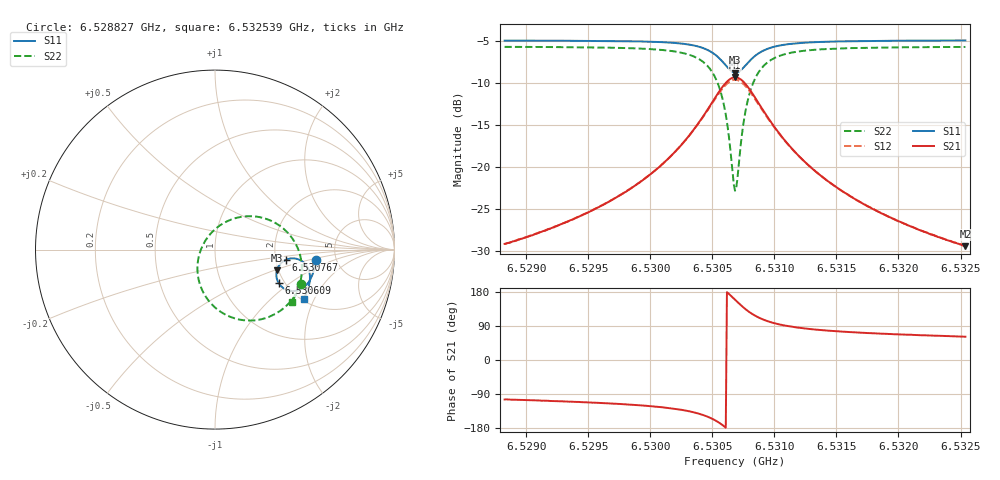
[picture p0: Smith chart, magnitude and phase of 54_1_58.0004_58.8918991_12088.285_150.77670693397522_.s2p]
#  HZ  S  RI  R  50.00
! Rohde & Schwarz Vector Network Analyzer
! Rohde-Schwarz,ZNB20-2Port,1311601062101988,3.16
! Created: UTC 3/21/2024, 12:52:42 AM
! freq[Hz]  re:S11  im:S11  re:S21  im:S21  re:S12  im:S12  re:S22  im:S22
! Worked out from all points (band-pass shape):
!   401 points, 6.528827 GHz to 6.532539 GHz, reference 50 ohm
!   highest |S21| = -9.35 dB at 6.530683 GHz (marker M1); lowest = -29.5 dB at 6.532539 GHz (marker M2)
!   |S21| within 3 dB of the highest: 6.530498 GHz to 6.53087 GHz (371.7 kHz wide, 0.00569 % of centre)
!   lowest |S11| = -8.8 dB at 6.530683 GHz (marker M3), VSWR 2.14, Z = 97.9 - j26.3 ohm
!   |S11| at or under -10 dB: nowhere
!   |S22| runs from -22.9 to -5.7 dB; largest |S21 - S12| = 0.014
!   S11 on the Smith chart (normalised r, x): 6.528827 GHz: 3.47, -0.60; 6.530609 GHz: 1.86, -0.83; 6.530767 GHz: 2.29, -0.31; 6.532539 GHz: 2.06, -1.66
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6.5288269e9  0.5607 -0.0585  -0.00852 -0.0336  -0.00908 -0.0334  0.4816 -0.1896
6.5294487e9  0.5512 -0.1122  -0.0185 -0.0477  -0.0197 -0.0475  0.4489 -0.2516
6.5297921e9  0.5404 -0.1461  -0.0316 -0.0626  -0.0333 -0.0618  0.4148 -0.2959
6.5300705e9  0.5236 -0.1792  -0.0552 -0.0825  -0.0578 -0.0809  0.3613 -0.3426
6.5302932e9  0.4935 -0.2112  -0.1018 -0.1057  -0.1052 -0.1018  0.2672 -0.3859
6.530451e9  0.4443 -0.2304  -0.1808 -0.1121  -0.1832 -0.1042  0.1229 -0.3869
6.5305438e9  0.3935 -0.2218  -0.2604 -0.079  -0.2585 -0.0672  -0.00857 -0.3144
6.5305809e9  0.3705 -0.2059  -0.2945 -0.0447  -0.2894 -0.0326  -0.0594 -0.2493
6.5306088e9  0.3553 -0.1874  -0.3157 -0.00803  -0.3076 0.00335  -0.087 -0.1841
6.5306366e9  0.345 -0.1635  -0.3279 0.0369  -0.3173 0.0464  -0.098 -0.1071
6.5306644e9  0.3418 -0.1355  -0.3274 0.0871  -0.3146 0.0934  -0.087 -0.0249
6.530683e9  0.3447 -0.1164  -0.3187 0.1204  -0.3054 0.1245  -0.0661 0.0282
6.5307016e9  0.3515 -0.0984  -0.3037 0.1515  -0.2905 0.1532  -0.0354 0.0758
6.5307387e9  0.3746 -0.0696  -0.2585 0.2005  -0.2475 0.1983  0.0474 0.1474
6.5307665e9  0.3965 -0.0561  -0.2184 0.2226  -0.2095 0.2187  0.1177 0.1765
6.5308315e9  0.446 -0.0496  -0.1316 0.2326  -0.1271 0.2284  0.2644 0.1773
6.5309243e9  0.4918 -0.07  -0.0538 0.2016  -0.0519 0.1992  0.3913 0.1079
6.5310635e9  0.5198 -0.1074  -0.00595 0.1496  -0.00489 0.1489  0.4633 0.00266
6.5313048e9  0.5292 -0.1542  0.0151 0.0963  0.0161 0.096  0.484 -0.1083
6.5316203e9  0.5244 -0.1946  0.0188 0.0634  0.0197 0.0631  0.4743 -0.1847
6.5319266e9  0.5158 -0.2247  0.0181 0.0466  0.0191 0.0464  0.459 -0.2304
6.5325391e9  0.4945 -0.2738  0.016 0.0295  0.0166 0.0293  0.4272 -0.2912
